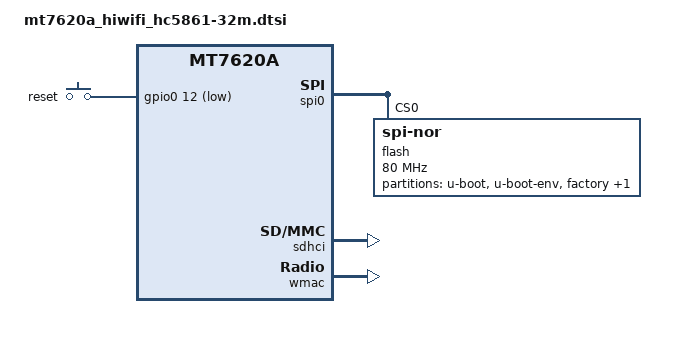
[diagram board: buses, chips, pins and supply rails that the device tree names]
#include "mt7620a.dtsi"

#include <dt-bindings/gpio/gpio.h>
#include <dt-bindings/input/input.h>

/ {
	compatible = "hiwifi,hc5861-32m", "ralink,mt7620a-soc";

	chosen {
		bootargs = "console=ttyS0,115200";
	};

	keys {
		compatible = "gpio-keys";

		reset {
			label = "reset";
			gpios = <&gpio0 12 GPIO_ACTIVE_LOW>;
			linux,code = <KEY_RESTART>;
		};
	};
};

&gpio3 {
	status = "okay";
};

&spi0 {
	status = "okay";

	flash@0 {
		compatible = "jedec,spi-nor";
		reg = <0>;
		spi-max-frequency = <80000000>;
        broken-flash-reset;
		m25p,fast-read;

		partitions {
			compatible = "fixed-partitions";
			#address-cells = <1>;
			#size-cells = <1>;

			partition@0 {
				label = "u-boot";
				reg = <0x0 0x30000>;
				read-only;
			};

			partition@30000 {
				label = "u-boot-env";
				reg = <0x30000 0x10000>;
				read-only;
			};

			factory: partition@40000 {
				label = "factory";
				reg = <0x40000 0x10000>;
				read-only;
			};

			firmware: partition@50000 {
				compatible = "denx,uimage";
				label = "firmware";
				reg = <0x50000 0x1fb0000>;
			};
		};
	};
};

&ethernet {
	mtd-mac-address = <&factory 0x4>;

	mediatek,portmap = "wllll";
};

&sdhci {
	status = "okay";
};

&wmac {
	ralink,mtd-eeprom = <&factory 0x0>;
};

&state_default {
	gpio {
		groups = "uartf", "wled";
		function = "gpio";
	};
};
